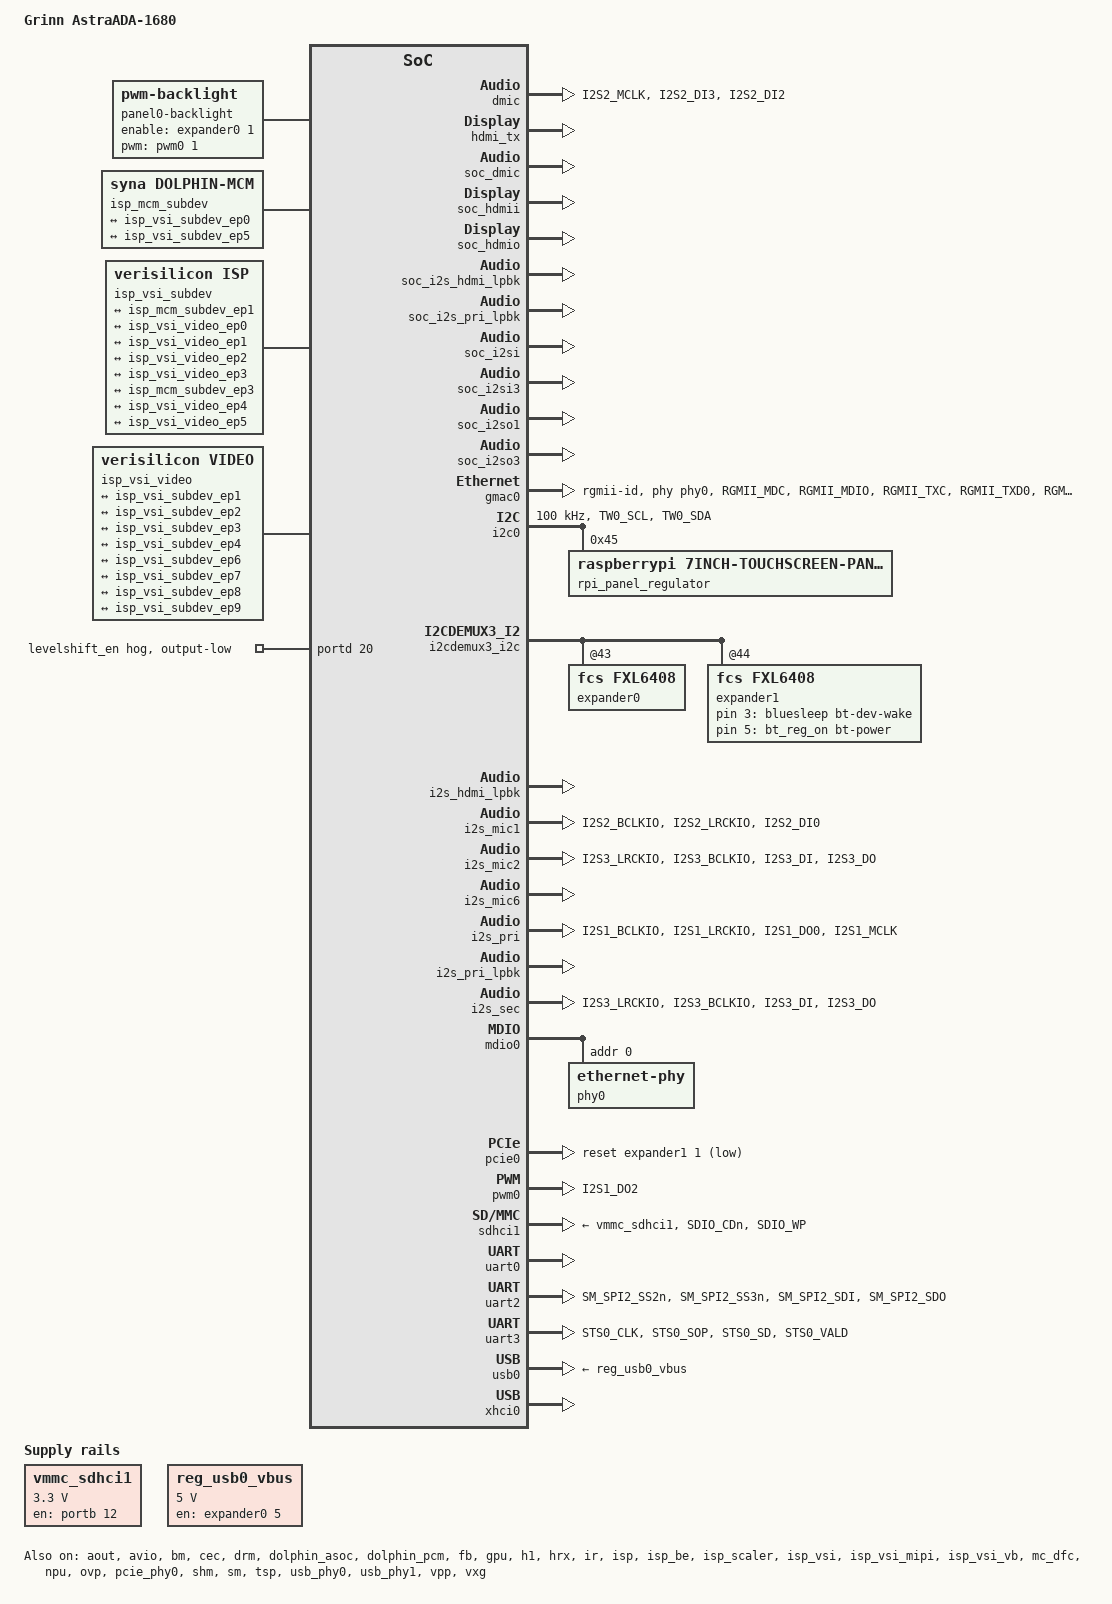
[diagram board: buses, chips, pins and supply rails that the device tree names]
/* SPDX-License-Identifier: GPL-2.0+ */
/*
* Copyright (C) 2016~2023 Synaptics Incorporated. All rights reserved.
*
* This program is free software; you can redistribute it and/or modify
* it under the terms of the GNU General Public License version 2 or
* later as published by the Free Software Foundation.
*
* INFORMATION CONTAINED IN THIS DOCUMENT IS PROVIDED "AS-IS," AND
* SYNAPTICS EXPRESSLY DISCLAIMS ALL EXPRESS AND IMPLIED WARRANTIES,
* INCLUDING ANY IMPLIED WARRANTIES OF MERCHANTABILITY AND FITNESS FOR
* A PARTICULAR PURPOSE, AND ANY WARRANTIES OF NON-INFRINGEMENT OF ANY
* INTELLECTUAL PROPERTY RIGHTS. IN NO EVENT SHALL SYNAPTICS BE LIABLE
* FOR ANY DIRECT, INDIRECT, INCIDENTAL, SPECIAL, PUNITIVE, OR
* CONSEQUENTIAL DAMAGES ARISING OUT OF OR IN CONNECTION WITH THE USE
* OF THE INFORMATION CONTAINED IN THIS DOCUMENT, HOWEVER CAUSED AND
* BASED ON ANY THEORY OF LIABILITY, WHETHER IN AN ACTION OF CONTRACT,
* NEGLIGENCE OR OTHER TORTIOUS ACTION, AND EVEN IF SYNAPTICS WAS
* ADVISED OF THE POSSIBILITY OF SUCH DAMAGE. IF A TRIBUNAL OF
* COMPETENT JURISDICTION DOES NOT PERMIT THE DISCLAIMER OF DIRECT
* DAMAGES OR ANY OTHER DAMAGES, SYNAPTICS' TOTAL CUMULATIVE LIABILITY
* TO ANY PARTY SHALL NOT EXCEED ONE HUNDRED U.S. DOLLARS.
*/

/dts-v1/;

#include <dt-bindings/gpio/gpio.h>
#include "grinn-astra-1680-som.dtsi"

/delete-node/ &isp_vsi_subdev;
/delete-node/ &isp_vsi_video;

/ {
	model = "Grinn AstraADA-1680";
	compatible = "grinn,grinn-astra-1680-ada", "syna,dolphin";

	bluesleep: bluesleep {
		compatible = "syna,bluesleep";
		bt-dev-wake-gpio = <&expander1 3 GPIO_ACTIVE_HIGH>;
	};

	bt_reg_on: bt_reg_on {
		compatible = "syna,rfkill";
		bt-power-gpio = <&expander1 5 GPIO_ACTIVE_HIGH>;
	};

	panel0-backlight {
		compatible = "pwm-backlight";
		pwms = <&pwm0 1 1000000 0>;
		brightness-levels = <0 4 8 16 32 64 128 255>;
		default-brightness-level = <6>;
		enable-gpio = <&expander0 1 GPIO_ACTIVE_HIGH>;
		status = "okay";
	};

	regulators {
		compatible = "simple-bus";
		#address-cells = <1>;
		#size-cells = <0>;

		vmmc_sdhci1: vmmc_sdhci1 {
			compatible = "regulator-fixed";
			regulator-name = "vmmc_sdio";
			regulator-min-microvolt = <3300000>;
			regulator-max-microvolt = <3300000>;
			enable-active-high;
			gpio = <&portb 12 GPIO_ACTIVE_HIGH>;
		};

		reg_usb0_vbus: usb0_vbus {
			compatible = "regulator-fixed";
			regulator-name = "usb0_vbus";
			regulator-min-microvolt = <5000000>;
			regulator-max-microvolt = <5000000>;
			enable-active-high;
			gpio = <&expander0 5 GPIO_ACTIVE_HIGH>;
		};
	};

	soc {
		isp_mcm_subdev: isp_mcm_subdev {
			id = <0>;
			status = "okay";
			compatible = "syna,dolphin-mcm";

			ports {
				#address-cells = <1>;
				#size-cells = <0>;
				port@1 {
					reg = <1>;
					#address-cells = <1>;
					#size-cells = <0>;
					isp_mcm_subdev_ep1: endpoint@1 {
						reg = <1>;
						remote-endpoint = <&isp_vsi_subdev_ep0>;
					};
				};

				port@3 {
					reg = <3>;
					#address-cells = <1>;
					#size-cells = <0>;
					isp_mcm_subdev_ep3: endpoint@3 {
						reg = <3>;
						remote-endpoint = <&isp_vsi_subdev_ep5>;
					};
				};
			};
		};

		isp_vsi_subdev: isp_vsi_subdev {
			id = <0>;
			status = "okay";
			compatible = "verisilicon,isp";

			ports {
				#address-cells = <1>;
				#size-cells = <0>;

				port@0 {
					reg = <0>;
					#address-cells = <1>;
					#size-cells = <0>;
					isp_vsi_subdev_ep0: endpoint@0 {
						reg = <0>;
						remote-endpoint = <&isp_mcm_subdev_ep1>;
					};
				};

				port@1 {
					reg = <1>;
					#address-cells = <1>;
					#size-cells = <0>;
					isp_vsi_subdev_ep1: endpoint@1 {
						reg = <1>;
						remote-endpoint = <&isp_vsi_video_ep0>;
					};
				};

				port@2 {
					reg = <2>;
					#address-cells = <1>;
					#size-cells = <0>;
					isp_vsi_subdev_ep2: endpoint@2 {
						reg = <2>;
						remote-endpoint = <&isp_vsi_video_ep1>;
					};
				};

				port@3 {
					reg = <3>;
					#address-cells = <1>;
					#size-cells = <0>;
					isp_vsi_subdev_ep3: endpoint@3 {
						reg = <3>;
						remote-endpoint = <&isp_vsi_video_ep2>;
					};
				};

				port@4 {
					reg = <4>;
					#address-cells = <1>;
					#size-cells = <0>;
					isp_vsi_subdev_ep4: endpoint@4 {
						reg = <4>;
						remote-endpoint = <&isp_vsi_video_ep3>;
					};
				};

				port@5 {
					reg = <5>;
					#address-cells = <1>;
					#size-cells = <0>;
					isp_vsi_subdev_ep5: endpoint@5 {
						reg = <5>;
						remote-endpoint = <&isp_mcm_subdev_ep3>;
					};
				};

				port@6 {
					reg = <6>;
					#address-cells = <1>;
					#size-cells = <0>;
					isp_vsi_subdev_ep6: endpoint@6 {
						reg = <6>;
						remote-endpoint = <&isp_vsi_video_ep4>;
					};
				};

				port@7 {
					reg = <7>;
					#address-cells = <1>;
					#size-cells = <0>;
					isp_vsi_subdev_ep7: endpoint@7 {
						reg = <7>;
						remote-endpoint = <&isp_vsi_video_ep5>;
					};
				};

				port@8 {
					reg = <8>;
					#address-cells = <1>;
					#size-cells = <0>;
					isp_vsi_subdev_ep8: endpoint@8 {
						reg = <8>;
						remote-endpoint = <&isp_vsi_video_ep6>;
					};
				};

				port@9 {
					reg = <9>;
					#address-cells = <1>;
					#size-cells = <0>;
					isp_vsi_subdev_ep9: endpoint@9 {
						reg = <9>;
						remote-endpoint = <&isp_vsi_video_ep7>;
					};
				};
			};
		};

		isp_vsi_video: isp_vsi_video {
			status = "okay";
			compatible = "verisilicon,video";

			ports {
				#address-cells = <1>;
				#size-cells = <0>;
				port@0 {
					reg = <0>;
					#address-cells = <1>;
					#size-cells = <0>;
					isp_vsi_video_ep0: endpoint@0 {
						reg = <0>;
						remote-endpoint = <&isp_vsi_subdev_ep1>;
					};
				};

				port@1 {
					reg = <1>;
					#address-cells = <1>;
					#size-cells = <0>;
					isp_vsi_video_ep1: endpoint@1 {
						reg = <1>;
						remote-endpoint = <&isp_vsi_subdev_ep2>;
					};
				};

				port@2 {
					reg = <2>;
					#address-cells = <1>;
					#size-cells = <0>;
					isp_vsi_video_ep2: endpoint@2 {
						reg = <2>;
						remote-endpoint = <&isp_vsi_subdev_ep3>;
					};
				};

				port@3 {
					reg = <3>;
					#address-cells = <1>;
					#size-cells = <0>;
					isp_vsi_video_ep3: endpoint@3 {
						reg = <3>;
						remote-endpoint = <&isp_vsi_subdev_ep4>;
					};
				};

				port@4 {
					reg = <4>;
					#address-cells = <1>;
					#size-cells = <0>;
					isp_vsi_video_ep4: endpoint@4 {
						reg = <4>;
						remote-endpoint = <&isp_vsi_subdev_ep6>;
					};
				};

				port@5 {
					reg = <5>;
					#address-cells = <1>;
					#size-cells = <0>;
					isp_vsi_video_ep5: endpoint@5 {
						reg = <5>;
						remote-endpoint = <&isp_vsi_subdev_ep7>;
					};
				};

				port@6 {
					reg = <6>;
					#address-cells = <1>;
					#size-cells = <0>;
					isp_vsi_video_ep6: endpoint@6 {
						reg = <6>;
						remote-endpoint = <&isp_vsi_subdev_ep8>;
					};
				};

				port@7 {
					reg = <7>;
					#address-cells = <1>;
					#size-cells = <0>;
					isp_vsi_video_ep7: endpoint@7 {
						reg = <7>;
						remote-endpoint = <&isp_vsi_subdev_ep9>;
					};
				};
			};
		};
	};
};

&aout {
	status = "okay";
};

&avio {
	status = "okay";
	pinctrl-0 = <&hdmitx5v_pmux>;
	pinctrl-names = "default";

	vpp {
		hdtx5v-gpio = <&portb 23 GPIO_ACTIVE_HIGH>;
	};
};

&avio_pinctrl {
	pdm_pmux: pdm-pmux {
		groups = "I2S2_MCLK", "I2S2_DI3", "I2S2_DI2";
		function = "pdm";
	};

	i2s1_pmux: i2s1-pmux {
		groups = "I2S1_BCLKIO", "I2S1_LRCKIO", "I2S1_DO0", "I2S1_MCLK";
		function = "i2s1";
	};

	i2s2_pmux: i2s2-pmux {
		groups = "I2S2_BCLKIO", "I2S2_LRCKIO", "I2S2_DI0";
		function = "i2s2";
	};

	i2s3_pmux: i2s3-pmux {
		groups = "I2S3_LRCKIO", "I2S3_BCLKIO", "I2S3_DI", "I2S3_DO";
		function = "i2s3";
	};

	pwm2_pmux: pwm2-pmux {
		groups = "I2S1_DO2";
		function = "pwm";
	};
};

&axi_mc0 {
	status = "okay";
};

&bm {
	status = "okay";
};

&cec {
	status = "okay";
	pinctrl-0 = <&cec_pmux>;
	pinctrl-names = "default";
	hdmi-phandle = <&drm>;
};

&dmic {
	status = "okay";
	pinctrl-0 = <&pdm_pmux>;
	pinctrl-names = "default";
	pdm-type = <1>;
	pdm-clk-sel = <2>;
	ch-shift-check;
};

&drm {
	status = "okay";

	/* Supported Modes:	0 - HDMI Only
	 *			1 - MIPI Only
	 *			2 - Dual Mode PIP
	 *
	 * Supported types:	0 - HDMI
	 *			3 - MIPI-DSI
	 */
	disp-mode = <2>;
	disp1-res-id = <61>;
	disp1-type = <0>;
	disp2-res-id = <102>;
	disp2-type = <3>;
	sw_partition = <14>;
	devnum = <0>;
	hw_partition = <0>; //0 - Default; 4 - 7 For GP1 to GP4

	dsi_panel {
		status= "okay";

		power-supply= <&rpi_panel_regulator>;
		backlight = <&rpi_panel_regulator>;

		NO_OF_RESID =  <1>;
		DSI_RES =  <102>;
		ACTIVE_WIDTH = <800>;
		HFP = <70>;
		HSYNCWIDTH = <20>;
		HBP = <26>;
		ACTIVE_HEIGHT = <480>;
		VFP = <7>;
		VSYNCWIDTH = <2>;
		VBP = <21>;
		FREQ = <28030>;
		TYPE = <1>;
		SCAN = <0>;
		FRAME_RATE = <9>;
		FLAG_3D = <0>;
		FREQ = <28030>;
		PTS_PER_4 = <6000>;

		bits_per_pixel = <24>;
		busformat = <0>;

		VB_MIN =  /bits/ 8 <6>;
		HB_MIN =  /bits/ 8 <30>;
		V_OFF = /bits/ 8 <6>;
		H_OFF = /bits/ 8 <20>;
		HB_VOP_OFF = /bits/ 8 <8>;
		VB_VOP_OFF = /bits/ 8 <3>;
		HB_BE = /bits/ 8 <7>;
		VB_BE = /bits/ 8 <2>;
		VB_FP = /bits/ 8 <2>;
		HB_FP = /bits/ 8 <10>;
		PIXEL_CLOCK = <28030>;

		HTOTAL = <916>;
		Lanes = /bits/ 8 <1>;
		Vid_mode = /bits/ 8 <2>;
		virtual_chan = /bits/ 8 <0>;
		Clk_Lane_Polarity = /bits/ 8 <0>;
		Data_Lane_Polarity = /bits/ 8 <0>;
		Recv_ack = /bits/ 8 <0>;
		Loosely_18 = /bits/ 8 <0>;
		H_polarity = /bits/ 8 <1>;
		V_Polarity = /bits/ 8 <1>;
		Data_Polarity = /bits/ 8 <1>;
		Eotp_tx = /bits/ 8 <1>;
		Eotp_rx = /bits/ 8 <0>;
		non-Continuous_clk = /bits/ 8 <0>;
		dpi_lp_cmd =  /bits/ 8 <1>;
		Color_coding = /bits/ 8 <5>;
		Chunks = <0>;
		Null_Pkt = <0>;
		Byte_clk = <84090>;

		/* COMMAND= Command for initialisation
		 * Format - <CMD> <Payloadlength-n> <BYTE1> <...> <BYTEn>
		 * Long write Ex: 39 04 FF 98 81 03

		 * Delay in micro seconds Command format: 0xFF <4BYTE delay>
		 * Delay for 100ms(100000us => 0x000186A0)
		 * 	- FF A0 86 01 00
		 */
		command = /bits/ 8 <0x29  0x06 0x10  0x02  0x03  0x00  0x00 0x00
				0x29  0x06 0x64  0x01  0x0C  0x00  0x00 0x00
				0x29  0x06 0x68  0x01  0x0C  0x00  0x00 0x00
				0x29  0x06 0x44  0x01  0x00  0x00  0x00 0x00
				0x29  0x06 0x48  0x01  0x00  0x00  0x00 0x00
				0x29  0x06 0x14  0x01  0x15  0x00  0x00 0x00
				0x29  0x06 0x50  0x04  0x60  0x00  0x00 0x00
				0x29  0x06 0x20  0x04  0x52  0x01  0x10 0x00
				0x29  0x06 0x28  0x04  0x20  0x03  0x69 0x00
				0x29  0x06 0x2C  0x04  0x02  0x00  0x15 0x00
				0x29  0x06 0x30  0x04  0xe0  0x01  0x07 0x00
				0x29  0x06 0x34  0x04  0x0f  0x04  0x00 0x00
				0x29  0x06 0x64  0x04  0x0f  0x04  0x00 0x00
				0x29  0x06 0x04  0x01  0x01  0x00  0x00 0x00
				0x29  0x06 0x04  0x02  0x01  0x00  0x00 0x00
				0xFF 0xC0 0xD4 0x01 0x00
				0xFF 0x10 0x27 0x00 0x00>;
	};

	hdmi_tx {
		status= "okay";
		/* HDMI_Tx core config array with fields as in below order -
		   HPD handling - 1:enable sink hotplug handling 0:disable sink hotplug handling
		   FixedModeset - 1:Enable mode config from within drm driver(on HPD), disable modeset interface to user
				  0:Expose user interface to set mode, don't control from within drm driver
		 */
		hdtx-core-config = /bits/ 8 <1 1>;
		/* Select format IDs enabled for profile. enter number of entries (inclusive) followed by entries <size, n1, n2..>
		   ID to res mapping as below
		   1280x720P30=10 1280x720P60=13
		   1920x1080P24=22 1920x1080P25=21 1920x1080P30=19 1920x1080P50=26 1920x1080P59.94=25 1920x1080P60=24
		   3840x2160P24=57 3840x2160P25=59 3840x2160P30=61 3840x2160P50=62 3840x2160P59.94=63 3840x2160P60=64 */
		hdtx-supported-formats = /bits/ 8 <12 10 13 22 21 19 26 25 24 61 62 64>;
	};
};

&dolphin_asoc {
	status = "okay";

	soc_dmic: soc-dmic {
		status = "okay";
		stream-name = "soc-dmic";
		link-name = "soc-dmic";
		cpu-node = <&dmic>;
		codec-name = "snd-soc-dummy";
		codec-dai-name = "snd-soc-dummy-dai";
		platform-node = <&dolphin_pcm>;
	};

	soc_hdmii: soc-hdmii {
		status = "okay";
		stream-name = "soc-hdmii";
		link-name = "soc-hdmii";
		cpu-node = <&hdmi_in>;
		codec-name = "snd-soc-dummy";
		codec-dai-name = "snd-soc-dummy-dai";
		platform-node = <&dolphin_pcm>;
	};

	soc_hdmio: soc-hdmio {
		status = "okay";
		stream-name = "soc-hdmio";
		link-name = "soc-hdmio";
		format = "i2s";
		cpu-node = <&hdmi_out>;
		codec-name = "snd-soc-dummy";
		codec-dai-name = "snd-soc-dummy-dai";
		platform-node = <&dolphin_pcm>;
	};

	soc_i2s_hdmi_lpbk: soc-i2s-hdmi-lpbk {
		status = "okay";
		stream-name = "soc-i2s-hdmi-lpbk";
		link-name = "soc-i2s-hdmi-lpbk";
		format = "i2s";
		cpu-node = <&i2s_hdmi_lpbk>;
		codec-name = "snd-soc-dummy";
		codec-dai-name = "snd-soc-dummy-dai";
		platform-node = <&dolphin_pcm>;
	};

	soc_i2s_pri_lpbk: soc-i2s-pri-lpbk {
		status = "okay";
		stream-name = "soc-i2s-pri-lpbk";
		link-name = "soc-i2s-pri-lpbk";
		format = "i2s";
		cpu-node = <&i2s_pri_lpbk>;
		codec-name = "snd-soc-dummy";
		codec-dai-name = "snd-soc-dummy-dai";
		platform-node = <&dolphin_pcm>;
	};

	soc_i2si: soc-i2si2 {
		status = "okay";
		stream-name = "soc-i2si2";
		link-name = "soc-i2si2";
		format = "i2s";
		cpu-node = <&i2s_mic1>;
		codec-name = "snd-soc-dummy";
		codec-dai-name = "snd-soc-dummy-dai";
		platform-node = <&dolphin_pcm>;
	};

	soc_i2si3: soc-i2si3 {
		status = "okay";
		stream-name = "btsco-in";
		link-name = "btsco-in";
		format = "dsp_b";
		continuous-clock;
		cpu-node = <&i2s_mic2>;
		codec-name = "snd-soc-dummy";
		codec-dai-name = "snd-soc-dummy-dai";
		platform-node = <&dolphin_pcm>;
	};

	soc_i2so1: soc-i2so1 {
		status = "okay";
		stream-name = "soc-i2so1";
		link-name = "soc-i2so1";
		format = "i2s";
		/* Note that bitclock-master & frame-master is no longer set,
		 * as the assignment of clock producers & consumers has changed
		 * in kernel 6.12. With the updated setting, the CPU DAI is
		 * is still clock & frame producer and the codec clock & frame
		 * consumer.
		 */
		continuous-clock;
		bitclock-inversion;
		frame-inversion;
		cpu-node = <&i2s_pri>;
		codec-name = "snd-soc-dummy";
		codec-dai-name = "snd-soc-dummy-dai";
		platform-node = <&dolphin_pcm>;
	};

	soc_i2so3: soc-i2so3 {
		status = "okay";
		stream-name = "soc-i2so3";
		link-name = "soc-i2so3";
		format = "dsp_b";
		bitclock-master;
		frame-master;
		cpu-node = <&i2s_sec>;
		codec-name = "snd-soc-dummy";
		codec-dai-name = "snd-soc-dummy-dai";
		platform-node = <&dolphin_pcm>;
	};
};

&dolphin_pcm {
	status = "okay";
};

&fb {
	status = "okay";
};

&gmac0 {
	status = "okay";
	pinctrl-0 = <&gmac0_pmux>, <&gmac_gpio_pmux>;
	pinctrl-names = "default";
	phy-handle = <&phy0>;
	phy-mode = "rgmii-id";
	snps,reset-gpio = <&portd 8 GPIO_ACTIVE_HIGH>;
	snps,reset-delays-us = <0 10000 50000>;
};

&gpu {
	status = "okay";
};

&h1 {
	status = "okay";
};

&hdmi_in {
	status = "okay";
};

&hdmi_out {
	status = "okay";
};

&hrx {
	status = "okay";
	pinctrl-0 = <&hrx5v_pmux>, <&hrxhpd_pmux>, <&hrxedid_pmux>;
	pinctrl-names = "default";
	hrxhpd-gpio = <&portd 2 GPIO_ACTIVE_HIGH>;
	hrx5v-gpio = <&portd 21 GPIO_ACTIVE_HIGH>;
};

&i2c0 {
	status = "okay";
	pinctrl-names = "default";
	pinctrl-0 = <&i2c0_pmux>;
	clock-frequency = <100000>;
	no-irq-suspend;

	rpi_panel_regulator: rpi_panel_regulator@45 {
		compatible = "raspberrypi,7inch-touchscreen-panel-regulator";
		reg = <0x45>;
		gpio-controller;
		#gpio-cells = <2>;
	};
};

&i2cdemux3_i2c {
	expander0: gpio@43 {
		compatible = "fcs,fxl6408";
		reg = <0x43>;
		gpio-controller;
		#gpio-cells = <2>;
		gpio-line-names = "PWR_SOC_VCORE_EN", "PWR_ON_DSI", "VDDM_ON", "VDDM_LPQ_OFF",
				  "STAND_BY_EN", "USB2.0_PWR_EN", "M2_PCIe_CLK_REQ", "GPIO_DSI";
	};

	expander1: gpio@44 {
		compatible = "fcs,fxl6408";
		reg = <0x44>;
		gpio-controller;
		#gpio-cells = <2>;
		gpio-line-names = "GPIO_CSI0", "M2_PCIe_RST", "M2_SDIO_DISABLE1", "M2_SDIO_HOST_WAKE",
				  "PWR_ON_CSI0", "M2_SDIO_HOST_DISABLE2", "GPIO_CSI1", "PWR_ON_CSI1";
	};
};

&i2s_hdmi_lpbk {
	status = "okay";
};

&i2s_mic1 {
	status = "okay";
	pinctrl-0 = <&i2s2_pmux>;
	pinctrl-names = "default";
	intlmode;
};

&i2s_mic2 {
	status = "okay";
	pinctrl-0 = <&i2s3_pmux>;
	pinctrl-names = "default";
	duplex;
	disablemicmute;
};

&i2s_mic6 {
	status = "okay";
};

&i2s_pri {
	status = "okay";
	pinctrl-0 = <&i2s1_pmux>;
	pinctrl-names = "default";
};

&i2s_pri_lpbk {
	status = "okay";
};

&i2s_sec {
	status = "okay";
	pinctrl-0 = <&i2s3_pmux>;
	pinctrl-names = "default";
	duplex;
	sample-period = <32>;
};

&ir {
	status = "okay";
};

&isp {
	status = "okay";
};

&isp_be {
	status = "okay";
};

&isp_scaler {
	status = "okay";
};

&isp_vsi {
	status = "okay";
};

&isp_vsi_mipi {
	status = "okay";
};

&isp_vsi_vb {
	status = "okay";
};

&mc_dfc {
	status = "okay";
};

&mdio0 {
	phy0: ethernet-phy@0 {
		reg = <0>;
		realtek,clkout-disable;
		realtek,rxc-ssc-enable;
		realtek,sysclk-ssc-enable;
	};
};

&npu {
	status = "okay";
};

&ovp {
	status = "okay";
};

&pcie_phy0 {
	status = "okay";
};

&pcie0 {
	status = "okay";
	reset-gpios = <&expander1 1 GPIO_ACTIVE_LOW>;
};

&pinctrl {
	hdmitx5v_pmux: hdmitx5v-pmux {
		groups = "USB2_DRV_VBUS";
		function = "gpio";
	};

	sdhci1_pmux: sdhci1-pmux {
		groups = "SDIO_CDn";
		function = "sdio";
		drive-strength = <7>;
	};

	sdhci1_gpio_pmux: sdhci1-gpio-pmux {
		groups = "SDIO_WP";
		function = "gpio";
	};

	gmac0_pmux: gmac0-pmux {
		groups = "RGMII_MDC", "RGMII_MDIO", "RGMII_TXC", "RGMII_TXD0",
			 "RGMII_TXD1", "RGMII_TXD2", "RGMII_TXD3", "RGMII_TXCTL", "RGMII_RXC",
			 "RGMII_RXD0", "RGMII_RXD1", "RGMII_RXD2", "RGMII_RXD3", "RGMII_RXCTL";
		function = "rgmii";
		drive-strength = <3>;
	};

	i2c0_pmux: i2c0-pmux {
		groups = "TW0_SCL", "TW0_SDA";
		function = "tw0";
		drive-strength = <7>;
	};

	uart3_pmux: uart3-pmux {
		groups = "STS0_CLK", "STS0_SOP", "STS0_SD", "STS0_VALD";
		function = "uart3";
		drive-strength = <3>;
	};
};

&portd {
	pinctrl-0 = <&levelshift_pmux>;
	pinctrl-names = "default";

	levelshift_en {
		gpio-hog;
		gpios = <20 GPIO_ACTIVE_HIGH>;
		output-low;
	};
};

&pwm0 {
	status = "okay";
	pinctrl-0 = <&pwm2_pmux>;
	pinctrl-names = "default";
};

&sdhci1 {
	status = "okay";
	pinctrl-0 = <&sdhci1_pmux>, <&sdhci1_gpio_pmux>;
	pinctrl-names = "default";
	no-sdio;
	no-mmc;
	disable-wp;
	sdclkdl-dc = /bits/ 8 <75>;
	pad-sp = /bits/ 8 <4>;
	pad-sn = /bits/ 8 <4>;
	vmmc-supply = <&vmmc_sdhci1>;
};

&shm {
	status = "okay";
};

&sm {
	status = "okay";
};

&sm_pinctrl {
	cec_pmux: cec-pmux {
		groups = "SM_HDMI_CEC";
		function = "hdmi";
	};

	hrx5v_pmux: hrx5v-pmux {
		groups = "SM_HDMIRX_PWR5V";
		function = "gpio";
		drive-strength = <7>;
	};

	hrxhpd_pmux: hrxhpd-pmux {
		groups = "SM_HDMI_HPD";
		function = "gpio";
	};

	hrxedid_pmux: hrxedid-pmux {
		groups = "SM_TW2_SCL", "SM_TW2_SDA";
		function = "rx_edid";
		drive-strength = <7>;
	};

	levelshift_pmux: levelshift-pmux {
		groups = "SM_HDMIRX_HPD";
		function = "gpio";
	};

		gmac_gpio_pmux: gmac_gpio_pmux {
		groups = "SM_TDO";
		function = "gpio";
	};

	uart2_pmux: uart2-pmux {
		groups = "SM_SPI2_SS2n", "SM_SPI2_SS3n", "SM_SPI2_SDI", "SM_SPI2_SDO";
		function = "uart2";
		drive-strength = <3>;
	};
};

&tsp {
	status = "okay";
};

&uart0 {
	status = "okay";
};

&uart2 {
	status = "okay";
	pinctrl-0 = <&uart2_pmux>;
	pinctrl-names = "default";
};

&uart3 {
	status = "okay";
	pinctrl-0 = <&uart3_pmux>;
	pinctrl-names = "default";
};

&usb0 {
	status = "okay";
	vbus-supply = <&reg_usb0_vbus>;
};

&usb_phy0  {
	status = "okay";
};

&usb_phy1  {
	status = "okay";
};

&vpp {
	status = "okay";
};

&vxg {
	status = "okay";
};

&xhci0 {
	status = "okay";
};
